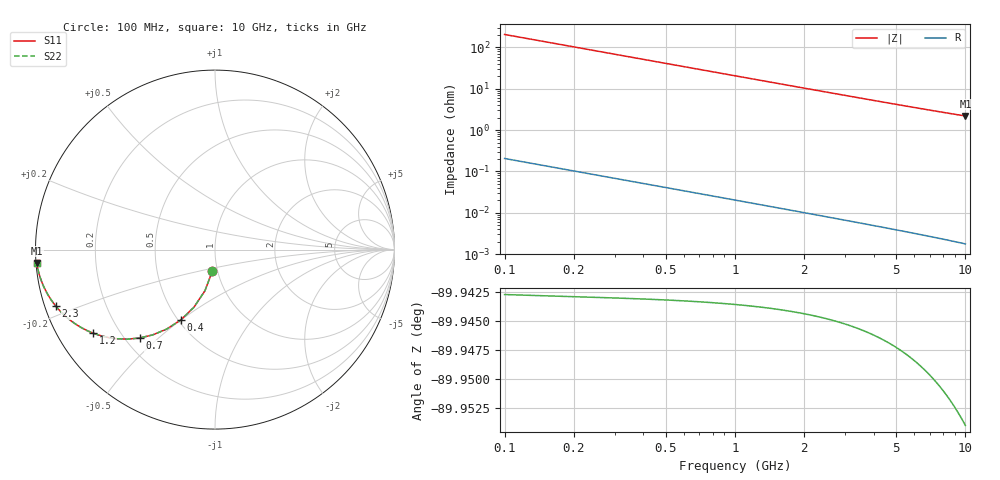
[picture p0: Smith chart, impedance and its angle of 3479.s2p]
# Hz S RI R 50.00
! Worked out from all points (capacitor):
!   100 points, 100 MHz to 10 GHz, reference 50 ohm
!   read as one part in shunt: C = 7.75 pF near 100 MHz
!   lowest |Z| = 2.19 ohm at 10 GHz (marker M1)
!   S11 on the Smith chart (normalised r, x): 100 MHz: 0.94, -0.23; 400 MHz: 0.51, -0.50; 700 MHz: 0.26, -0.44; 1.2 GHz: 0.11, -0.31; 2.3 GHz: 0.03, -0.17; 10 GHz: 0.00, -0.04
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1e8  -0.0147 -0.1198  0.9853 -0.1199  0.9853 -0.1199  -0.0147 -0.1198
2e8  -0.0561 -0.2295  0.9439 -0.2298  0.9439 -0.2298  -0.0561 -0.2295
3e8  -0.1178 -0.3217  0.8822 -0.3221  0.8822 -0.3221  -0.1178 -0.3217
4e8  -0.1917 -0.3929  0.8083 -0.3934  0.8083 -0.3934  -0.1917 -0.3929
5e8  -0.2703 -0.4433  0.7297 -0.4439  0.7297 -0.4439  -0.2703 -0.4433
6e8  -0.3477 -0.4754  0.6523 -0.4761  0.6523 -0.4761  -0.3477 -0.4754
7e8  -0.4203 -0.4927  0.5797 -0.4935  0.5797 -0.4935  -0.4203 -0.4927
9e8  -0.5449 -0.4969  0.455 -0.498  0.455 -0.498  -0.5449 -0.4969
1e9  -0.5964 -0.4895  0.4036 -0.4907  0.4036 -0.4907  -0.5964 -0.4895
1.2e9  -0.6801 -0.4652  0.3199 -0.4667  0.3199 -0.4667  -0.6801 -0.4652
1.3e9  -0.7138 -0.4507  0.2862 -0.4523  0.2862 -0.4523  -0.7138 -0.4507
1.5e9  -0.7684 -0.4204  0.2316 -0.4223  0.2316 -0.4223  -0.7684 -0.4204
1.8e9  -0.8268 -0.3768  0.1732 -0.3791  0.1732 -0.3791  -0.8268 -0.3768
2e9  -0.8548 -0.3505  0.1452 -0.353  0.1452 -0.353  -0.8548 -0.3505
2.3e9  -0.8861 -0.3157  0.1139 -0.3186  0.1139 -0.3186  -0.8861 -0.3157
2.8e9  -0.9201 -0.2689  0.0799 -0.2724  0.0799 -0.2724  -0.9201 -0.2689
3.4e9  -0.9443 -0.2266  0.0557 -0.2309  0.0557 -0.2309  -0.9443 -0.2266
4.2e9  -0.9628 -0.1861  0.0372 -0.1915  0.0372 -0.1915  -0.9628 -0.1861
5.1e9  -0.9744 -0.154  0.0255 -0.1605  0.0255 -0.1605  -0.9744 -0.154
6.7e9  -0.9851 -0.1163  0.0149 -0.125  0.0149 -0.125  -0.9851 -0.1163
8.4e9  -0.9905 -0.0908  0.00941 -0.1018  0.00941 -0.1018  -0.9905 -0.0908
1e10  -0.9933 -0.0739  0.00656 -0.0872  0.00656 -0.0872  -0.9933 -0.0739
